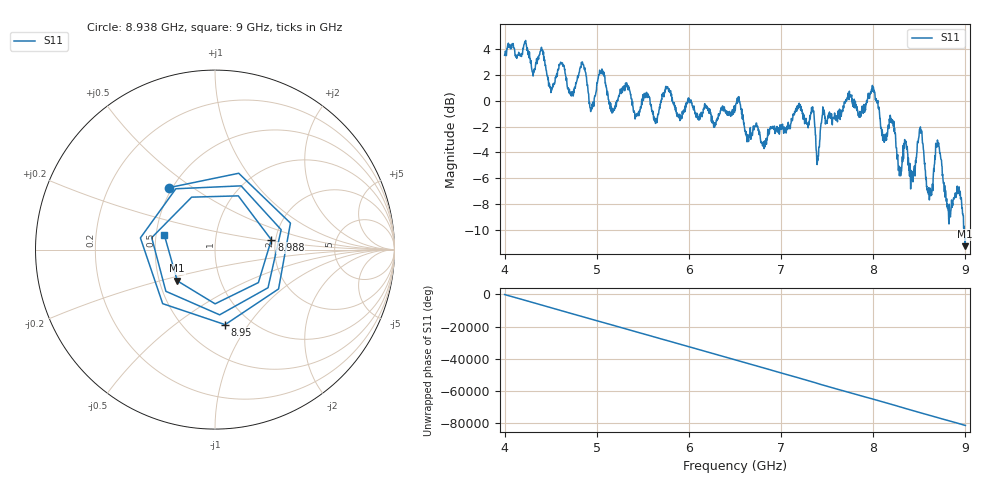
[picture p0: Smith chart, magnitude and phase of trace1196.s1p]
! Created with skrf 1.8.0 (http://scikit-rf.org).
# Hz S RI R 50.0
!freq ReS11 ImS11
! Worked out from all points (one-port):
!   1601 points, 4 GHz to 9 GHz, reference 50 ohm
!   lowest |S11| = -11.3 dB at 8.997 GHz (marker M1), VSWR 1.75, Z = 31 - j11.6 ohm
!   |S11| at or under -10 dB: 8.988448 GHz to end of sweep
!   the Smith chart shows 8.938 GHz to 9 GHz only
!   S11 on the Smith chart (normalised r, x): 8.938 GHz: 0.48, +0.41; 8.95 GHz: 0.77, -0.78; 8.988 GHz: 1.90, +0.23; 9 GHz: 0.55, +0.10
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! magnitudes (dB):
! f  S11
! 4 GHz  3.6
! 4.625 GHz  2.9
! 4.722 GHz  0.4
! 4.856 GHz  2.8
! 4.944 GHz  -0.6
! 5.053 GHz  2.3
! 5.25 GHz  0.6
! 5.875 GHz  -1.0
! 6.5 GHz  -0.4
! 6.806 GHz  -3.4
! 7.125 GHz  -1.5
! 7.338 GHz  -0.6
! 7.397 GHz  -4.5
! 7.453 GHz  -0.5
! 7.75 GHz  0.5
! 7.994 GHz  0.7
! 8.284 GHz  -5.8
! 8.375 GHz  -4.2
! 8.428 GHz  -5.5
! 8.516 GHz  -2.5
! 8.609 GHz  -7.7
! 8.703 GHz  -3.4
! 8.816 GHz  -8.5
! 8.938 GHz  -7.3
! 8.95 GHz  -7.5
! 8.988 GHz  -9.9
! 8.997 GHz  -11.3
! 9 GHz  -10.7
